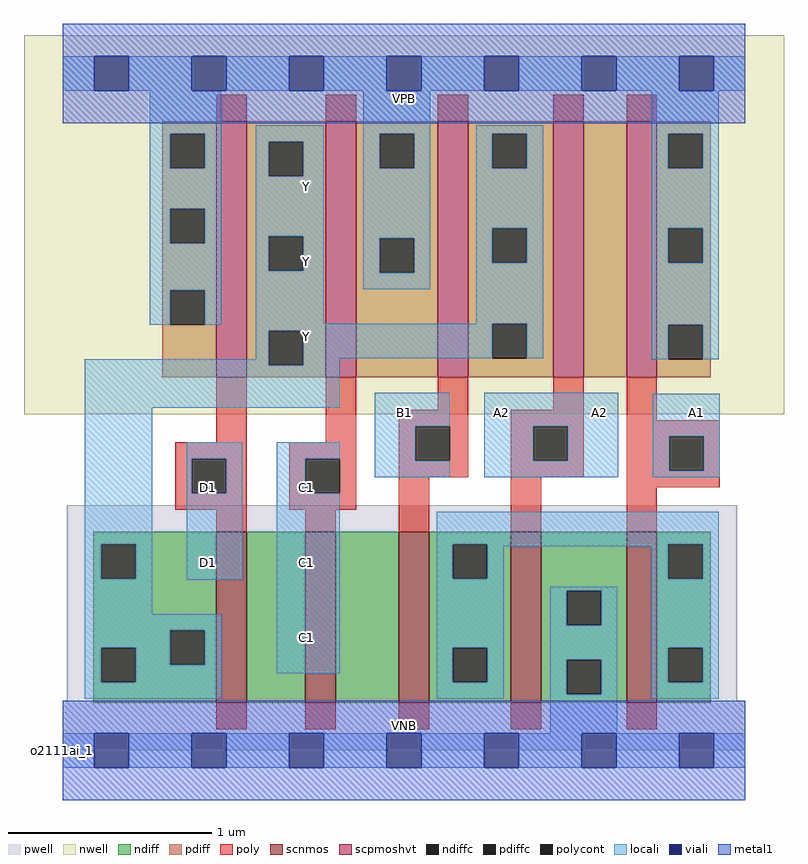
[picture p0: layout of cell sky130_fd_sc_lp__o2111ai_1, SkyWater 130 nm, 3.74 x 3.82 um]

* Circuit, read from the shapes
.subckt sky130_fd_sc_lp__o2111ai_1 A1 A2 B1 C1 D1 VGND VNB VPB VPWR Y
XM1 n1 D1 Y VNB sky130_fd_pr__nfet_01v8 w=0.84 l=0.15
XM2 n2 C1 n1 VNB sky130_fd_pr__nfet_01v8 w=0.84 l=0.15
XM3 n3 B1 n2 VNB sky130_fd_pr__nfet_01v8 w=0.84 l=0.15
XM4 VGND A2 n3 VNB sky130_fd_pr__nfet_01v8 w=0.84 l=0.15
XM5 n3 A1 VGND VNB sky130_fd_pr__nfet_01v8 w=0.84 l=0.15
XM6 Y D1 VPWR VPB sky130_fd_pr__pfet_01v8_hvt w=1.26 l=0.15
XM7 VPWR C1 Y VPB sky130_fd_pr__pfet_01v8_hvt w=1.26 l=0.15
XM8 Y B1 VPWR VPB sky130_fd_pr__pfet_01v8_hvt w=1.26 l=0.15
XM9 n4 A2 Y VPB sky130_fd_pr__pfet_01v8_hvt w=1.26 l=0.15
XM10 VPWR A1 n4 VPB sky130_fd_pr__pfet_01v8_hvt w=1.26 l=0.15
.ends

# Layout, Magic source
magic
tech sky130A
magscale 1 2
<< nwell >>
rect -38 331 710 704
<< pwell >>
rect 4 49 664 241
rect 0 0 672 49
<< scnmos >>
rect 151 47 181 215
rect 239 47 269 215
rect 331 47 361 215
rect 441 47 471 215
rect 555 47 585 215
<< scpmoshvt >>
rect 151 367 181 619
rect 259 367 289 619
rect 369 367 399 619
rect 483 367 513 619
rect 555 367 585 619
<< ndiff >>
rect 30 203 151 215
rect 30 169 38 203
rect 72 169 151 203
rect 30 118 151 169
rect 30 101 106 118
rect 30 67 38 101
rect 72 84 106 101
rect 140 84 151 118
rect 72 67 151 84
rect 30 47 151 67
rect 181 47 239 215
rect 269 47 331 215
rect 361 203 441 215
rect 361 169 384 203
rect 418 169 441 203
rect 361 101 441 169
rect 361 67 384 101
rect 418 67 441 101
rect 361 47 441 67
rect 471 157 555 215
rect 471 123 496 157
rect 530 123 555 157
rect 471 89 555 123
rect 471 55 496 89
rect 530 55 555 89
rect 471 47 555 55
rect 585 203 638 215
rect 585 169 596 203
rect 630 169 638 203
rect 585 101 638 169
rect 585 67 596 101
rect 630 67 638 101
rect 585 47 638 67
<< pdiff >>
rect 98 607 151 619
rect 98 573 106 607
rect 140 573 151 607
rect 98 533 151 573
rect 98 499 106 533
rect 140 499 151 533
rect 98 453 151 499
rect 98 419 106 453
rect 140 419 151 453
rect 98 367 151 419
rect 181 599 259 619
rect 181 565 203 599
rect 237 565 259 599
rect 181 506 259 565
rect 181 472 203 506
rect 237 472 259 506
rect 181 413 259 472
rect 181 379 203 413
rect 237 379 259 413
rect 181 367 259 379
rect 289 607 369 619
rect 289 573 312 607
rect 346 573 369 607
rect 289 504 369 573
rect 289 470 312 504
rect 346 470 369 504
rect 289 367 369 470
rect 399 607 483 619
rect 399 573 423 607
rect 457 573 483 607
rect 399 514 483 573
rect 399 480 423 514
rect 457 480 483 514
rect 399 420 483 480
rect 399 386 423 420
rect 457 386 483 420
rect 399 367 483 386
rect 513 367 555 619
rect 585 607 638 619
rect 585 573 596 607
rect 630 573 638 607
rect 585 514 638 573
rect 585 480 596 514
rect 630 480 638 514
rect 585 419 638 480
rect 585 385 596 419
rect 630 385 638 419
rect 585 367 638 385
<< ndiffc >>
rect 38 169 72 203
rect 38 67 72 101
rect 106 84 140 118
rect 384 169 418 203
rect 384 67 418 101
rect 496 123 530 157
rect 496 55 530 89
rect 596 169 630 203
rect 596 67 630 101
<< pdiffc >>
rect 106 573 140 607
rect 106 499 140 533
rect 106 419 140 453
rect 203 565 237 599
rect 203 472 237 506
rect 203 379 237 413
rect 312 573 346 607
rect 312 470 346 504
rect 423 573 457 607
rect 423 480 457 514
rect 423 386 457 420
rect 596 573 630 607
rect 596 480 630 514
rect 596 385 630 419
<< poly >>
rect 151 619 181 645
rect 259 619 289 645
rect 369 619 399 645
rect 483 619 513 645
rect 555 619 585 645
rect 151 303 181 367
rect 259 303 289 367
rect 369 335 399 367
rect 483 335 513 367
rect 111 287 181 303
rect 111 253 127 287
rect 161 253 181 287
rect 111 237 181 253
rect 223 287 289 303
rect 223 253 239 287
rect 273 253 289 287
rect 223 237 289 253
rect 331 319 399 335
rect 331 285 347 319
rect 381 285 399 319
rect 331 269 399 285
rect 441 319 513 335
rect 441 285 463 319
rect 497 285 513 319
rect 441 269 513 285
rect 555 325 585 367
rect 555 309 647 325
rect 555 275 597 309
rect 631 275 647 309
rect 151 215 181 237
rect 239 215 269 237
rect 331 215 361 269
rect 441 215 471 269
rect 555 259 647 275
rect 555 215 585 259
rect 151 21 181 47
rect 239 21 269 47
rect 331 21 361 47
rect 441 21 471 47
rect 555 21 585 47
<< polycont >>
rect 127 253 161 287
rect 239 253 273 287
rect 347 285 381 319
rect 463 285 497 319
rect 597 275 631 309
<< locali >>
rect 0 649 31 683
rect 65 649 127 683
rect 161 649 223 683
rect 257 649 319 683
rect 353 649 415 683
rect 449 649 511 683
rect 545 649 607 683
rect 641 649 672 683
rect 86 607 156 649
rect 86 573 106 607
rect 140 573 156 607
rect 86 533 156 573
rect 86 499 106 533
rect 140 499 156 533
rect 86 453 156 499
rect 86 419 106 453
rect 140 419 156 453
rect 190 599 257 615
rect 190 565 203 599
rect 237 565 257 599
rect 190 506 257 565
rect 190 472 203 506
rect 237 472 257 506
rect 190 420 257 472
rect 296 607 362 649
rect 296 573 312 607
rect 346 573 362 607
rect 296 504 362 573
rect 296 470 312 504
rect 346 470 362 504
rect 296 454 362 470
rect 407 607 473 615
rect 407 573 423 607
rect 457 573 473 607
rect 407 514 473 573
rect 407 480 423 514
rect 457 480 473 514
rect 407 420 473 480
rect 190 413 423 420
rect 190 385 203 413
rect 22 379 203 385
rect 237 386 423 413
rect 457 386 473 420
rect 580 607 646 649
rect 580 573 596 607
rect 630 573 646 607
rect 580 514 646 573
rect 580 480 596 514
rect 630 480 646 514
rect 580 419 646 480
rect 237 379 273 386
rect 580 385 596 419
rect 630 385 646 419
rect 22 337 273 379
rect 22 203 88 337
rect 307 319 381 352
rect 22 169 38 203
rect 72 169 88 203
rect 22 134 88 169
rect 122 287 177 303
rect 122 253 127 287
rect 161 253 177 287
rect 122 168 177 253
rect 211 287 273 303
rect 211 253 239 287
rect 307 285 347 319
rect 307 269 381 285
rect 415 319 547 352
rect 415 285 463 319
rect 497 285 547 319
rect 415 269 547 285
rect 581 309 647 351
rect 581 275 597 309
rect 631 275 647 309
rect 581 269 647 275
rect 22 118 156 134
rect 22 101 106 118
rect 22 67 38 101
rect 72 84 106 101
rect 140 84 156 118
rect 72 67 156 84
rect 211 76 273 253
rect 368 203 646 235
rect 368 169 384 203
rect 418 201 596 203
rect 418 169 434 201
rect 368 101 434 169
rect 580 169 596 201
rect 630 169 646 203
rect 22 51 156 67
rect 368 67 384 101
rect 418 67 434 101
rect 368 51 434 67
rect 480 157 546 161
rect 480 123 496 157
rect 530 123 546 157
rect 480 89 546 123
rect 480 55 496 89
rect 530 55 546 89
rect 480 17 546 55
rect 580 101 646 169
rect 580 67 596 101
rect 630 67 646 101
rect 580 51 646 67
rect 0 -17 31 17
rect 65 -17 127 17
rect 161 -17 223 17
rect 257 -17 319 17
rect 353 -17 415 17
rect 449 -17 511 17
rect 545 -17 607 17
rect 641 -17 672 17
<< viali >>
rect 31 649 65 683
rect 127 649 161 683
rect 223 649 257 683
rect 319 649 353 683
rect 415 649 449 683
rect 511 649 545 683
rect 607 649 641 683
rect 31 -17 65 17
rect 127 -17 161 17
rect 223 -17 257 17
rect 319 -17 353 17
rect 415 -17 449 17
rect 511 -17 545 17
rect 607 -17 641 17
<< metal1 >>
rect 0 683 672 715
rect 0 649 31 683
rect 65 649 127 683
rect 161 649 223 683
rect 257 649 319 683
rect 353 649 415 683
rect 449 649 511 683
rect 545 649 607 683
rect 641 649 672 683
rect 0 617 672 649
rect 0 17 672 49
rect 0 -17 31 17
rect 65 -17 127 17
rect 161 -17 223 17
rect 257 -17 319 17
rect 353 -17 415 17
rect 449 -17 511 17
rect 545 -17 607 17
rect 641 -17 672 17
rect 0 -49 672 -17
<< labels >>
flabel pwell s 0 0 672 49 0 FreeSans 200 0 0 0 VNB
port 7 nsew ground bidirectional
flabel nwell s 0 617 672 666 0 FreeSans 200 0 0 0 VPB
port 8 nsew power bidirectional
rlabel comment s 0 0 0 0 4 o2111ai_1
flabel metal1 s 0 617 672 666 0 FreeSans 340 0 0 0 VPWR
port 9 nsew power bidirectional
flabel metal1 s 0 0 672 49 0 FreeSans 340 0 0 0 VGND
port 6 nsew ground bidirectional
flabel locali s 607 316 641 350 0 FreeSans 340 0 0 0 A1
port 1 nsew signal input
flabel locali s 415 316 449 350 0 FreeSans 340 0 0 0 A2
port 2 nsew signal input
flabel locali s 511 316 545 350 0 FreeSans 340 0 0 0 A2
port 2 nsew signal input
flabel locali s 319 316 353 350 0 FreeSans 340 0 0 0 B1
port 3 nsew signal input
flabel locali s 223 94 257 128 0 FreeSans 340 0 0 0 C1
port 4 nsew signal input
flabel locali s 223 168 257 202 0 FreeSans 340 0 0 0 C1
port 4 nsew signal input
flabel locali s 223 242 257 276 0 FreeSans 340 0 0 0 C1
port 4 nsew signal input
flabel locali s 127 168 161 202 0 FreeSans 340 0 0 0 D1
port 5 nsew signal input
flabel locali s 127 242 161 276 0 FreeSans 340 0 0 0 D1
port 5 nsew signal input
flabel locali s 223 390 257 424 0 FreeSans 340 0 0 0 Y
port 10 nsew signal output
flabel locali s 223 464 257 498 0 FreeSans 340 0 0 0 Y
port 10 nsew signal output
flabel locali s 223 538 257 572 0 FreeSans 340 0 0 0 Y
port 10 nsew signal output
<< properties >>
string LEFsite unit
string LEFclass CORE
string FIXED_BBOX 0 0 672 666
string GDS_FILE $PDKPATH/libs.ref/sky130_fd_sc_lp/gds/sky130_fd_sc_lp.gds
string LEFsymmetry X Y R90
string GDS_END 4765800
string GDS_START 4758896
<< end >>
